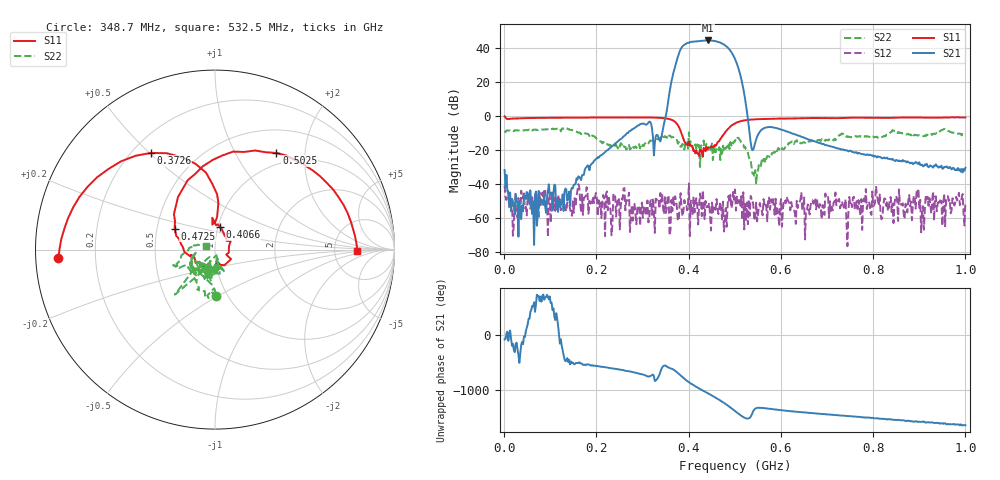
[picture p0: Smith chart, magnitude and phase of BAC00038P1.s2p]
!measured: 2026-10-27T14:57:52
!cal_instance: BBtestOct27
!cal_created: 2026-10-27T14:45
!cal_file: BBtesting.cal
!port1_delay_ps: -58.63
!port2_delay_ps: -59.31
!host: dhcp-10-250-247-203.harvard.edu
! Created with skrf 2.1.0 (http://scikit-rf.org).
# Hz S RI R 50.0
!freq ReS11 ImS11 ReS21 ImS21 ReS12 ImS12 ReS22 ImS22
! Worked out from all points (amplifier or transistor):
!   501 points, 1 MHz to 1 GHz, reference 50 ohm
!   highest |S21| = 44.7 dB at 442.6 MHz (marker M1)
!   |S21| within 3 dB of that: 388.5 MHz to 479.7 MHz (91.11 MHz wide, 21 % of centre)
!   unconditionally stable (mu >= 1): 2.034 MHz to 399.8 MHz; 400.8 MHz to 430.4 MHz; 431.1 MHz to end of sweep
!   at 166.8 MHz: K = 4058.40, MAG = -29.4 dB, |S12| = -56.9 dB
!   at 500.5 MHz: K = 1.16, MAG = 36.0 dB, |S12| = -43.2 dB
!   at 1 GHz: K = 688.57, MAG = -21.4 dB, |S12| = -50.3 dB
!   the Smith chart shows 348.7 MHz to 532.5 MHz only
!   S11 on the Smith chart (normalised r, x): 348.7 MHz: 0.07, -0.03; 372.6 MHz: 0.27, +0.50; 406.6 MHz: 1.02, +0.26; 472.5 MHz: 0.62, +0.16; 502.5 MHz: 0.82, +1.49; 532.5 MHz: 8.66, -0.35
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1000000  -0.355 0.9352  0.00451 -0.0256  0.00363 0.00832  0.3671 0.00129
1.68832e8  0.4929 -0.7689  -0.0172 -0.00584  0.00356 0.00341  -0.0316 -0.3243
3.34666e8  -0.8323 -0.3558  0.1929 -0.1351  0.000668 -0.00378  0.045 -0.2034
3.48652e8  -0.8723 -0.0463  -0.783 0.1747  -0.00406 -0.00066  0.00762 -0.2604
3.72628e8  -0.3587 0.5385  18.5 31.5  -0.00201 -0.00271  -0.1097 -0.1671
3.86614e8  0.0188 0.2602  82.74 -79.74  0.00093 -0.000631  -0.1362 -0.0722
3.96604e8  -0.0103 0.1479  -55.38 -132  0.00154 -0.000718  -0.1292 -0.1175
4.06594e8  0.0278 0.1264  -154.4 -28.12  0.00123 0.000861  -0.1091 -0.13
4.24576e8  0.0895 -0.0532  -34.77 163  0.00511 0.00129  0.00813 -0.031
4.32568e8  -0.000683 -0.1174  69.33 153.7  0.00237 -0.00131  -0.0178 -0.1938
4.42558e8  -0.0666 -0.0948  161.6 58.67  -6.48e-05 0.00215  -0.00521 -0.1231
4.5055e8  -0.1082 -0.0744  162.5 -50.43  0.000672 0.00277  -0.0179 -0.157
4.6054e8  -0.1424 -0.0344  66.81 -146  -0.0034 0.00129  -0.0265 -0.1108
4.72528e8  -0.225 0.1175  -85.52 -111  0.000909 -0.000148  0.0194 -0.0769
4.8052e8  -0.2058 0.2939  -118.4 -16.72  3.19e-05 0.00197  0.0233 -0.1079
4.88512e8  -0.0688 0.4638  -71.46 59.78  -0.0028 -0.000557  -0.0313 -0.1037
5.005e8  0.2831 0.5424  21.62 43.83  0.00694 0.000199  -0.1599 -0.0844
5.02498e8  0.3423 0.5384  26.77 32.68  0.00114 0.00121  -0.2002 -0.1024
5.32468e8  0.7932 -0.00745  0.1406 -0.2497  0.000397 0.00109  -0.0479 0.0184
6.68332e8  0.0222 -0.8861  0.174 0.0778  0.00328 0.000723  0.0332 -0.1871
8.34166e8  -0.6267 -0.645  0.00243 -0.0555  0.00184 -1.36e-05  -0.1829 -0.2362
1e9  -0.9021 -0.2134  -0.0295 0.00735  -1.09e-05 -0.00306  -0.2509 -0.166
